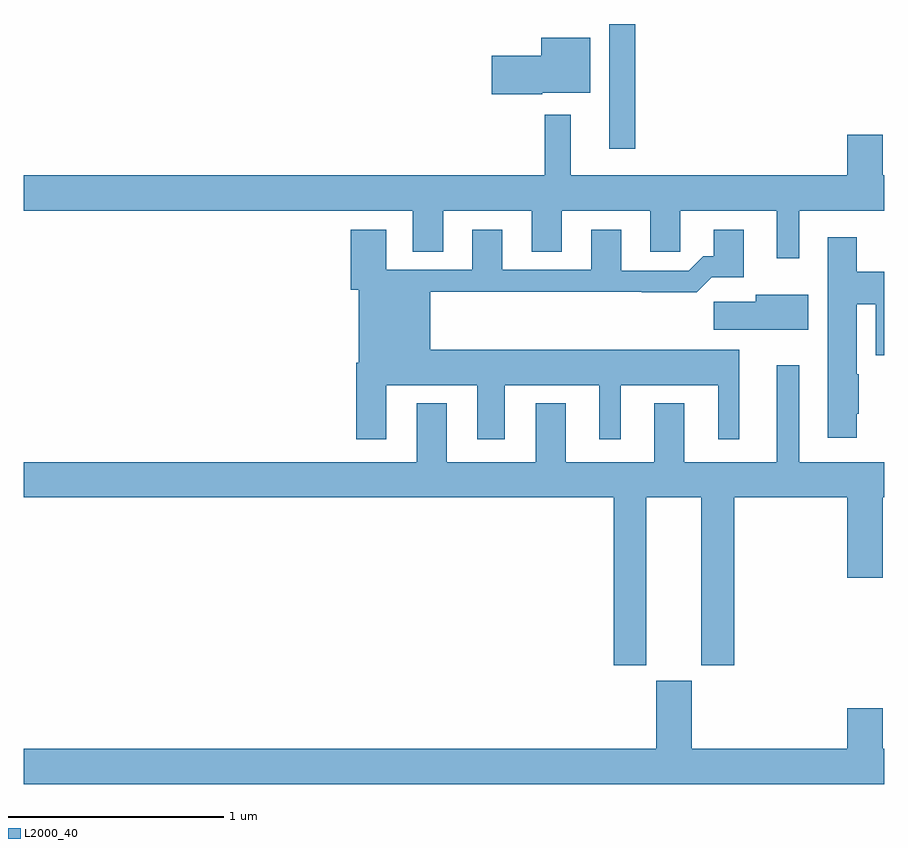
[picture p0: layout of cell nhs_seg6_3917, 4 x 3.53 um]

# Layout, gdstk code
import gdstk
lib = gdstk.Library(unit=1e-6, precision=1e-09)
def R(c, l, rs):  # rectangles x0, y0, x1, y1
    for r in rs: c.add(gdstk.rectangle(r[:2], r[2:], *l))
def P(c, l, *ps):  # polygons
    for p in ps: c.add(gdstk.Polygon(p, *l))
L2000_40 = (2000, 40)

nhs_seg6_3917 = lib.new_cell('nhs_seg6_3917')
R(nhs_seg6_3917, L2000_40, [(343.721,984.921,343.843,985.5)])
P(nhs_seg6_3917, L2000_40, [(343.41,985.181),(343.633,985.181),(343.633,985.435),(343.406,985.435),(343.406,985.352),(343.176,985.352),(343.176,985.174),(343.41,985.174)],
  [(344.605,984.632),(345,984.632),(345,984.796),(344.992,984.796),(344.992,984.985),(344.828,984.985),(344.828,984.796),(343.543,984.796),(343.543,985.078),(343.422,985.078),(343.422,984.796),(341,984.796),(341,984.632),(342.809,984.632),(342.809,984.442),(342.949,984.442),(342.949,984.632),(343.361,984.632),(343.361,984.442),(343.501,984.442),(343.501,984.632),(343.913,984.632),(343.913,984.442),(344.052,984.442),(344.052,984.632),(344.501,984.632),(344.501,984.411),(344.605,984.411)],
  [(342.685,983.822),(343.109,983.822),(343.109,983.571),(343.237,983.571),(343.237,983.822),(343.676,983.822),(343.676,983.571),(343.774,983.571),(343.774,983.822),(344.228,983.822),(344.228,983.571),(344.326,983.571),(344.326,983.986),(342.889,983.986),(342.889,984.256),(343.873,984.256),(343.873,984.254),(344.129,984.254),(344.198,984.323),(344.347,984.323),(344.347,984.544),(344.207,984.544),(344.207,984.421),(344.158,984.421),(344.091,984.354),(343.777,984.354),(343.777,984.544),(343.637,984.544),(343.637,984.357),(343.225,984.357),(343.225,984.544),(343.085,984.544),(343.085,984.357),(342.685,984.357),(342.685,984.544),(342.521,984.544),(342.521,984.264),(342.557,984.264),(342.557,983.926),(342.545,983.926),(342.545,983.571),(342.685,983.571)],
  [(344.872,983.689),(344.88,983.689),(344.88,983.873),(344.872,983.873),(344.872,984.197),(344.96,984.197),(344.96,983.961),(345,983.961),(345,984.349),(344.872,984.349),(344.872,984.508),(344.738,984.508),(344.738,983.577),(344.872,983.577)],
  [(344.647,984.241),(344.402,984.241),(344.402,984.209),(344.208,984.209),(344.208,984.08),(344.647,984.08)],
  [(343.894,983.3),(344.15,983.3),(344.15,982.521),(344.303,982.521),(344.303,983.3),(344.828,983.3),(344.828,982.926),(344.992,982.926),(344.992,983.3),(345,983.3),(345,983.464),(344.605,983.464),(344.605,983.914),(344.501,983.914),(344.501,983.464),(344.071,983.464),(344.071,983.737),(343.931,983.737),(343.931,983.464),(343.519,983.464),(343.519,983.737),(343.379,983.737),(343.379,983.464),(342.967,983.464),(342.967,983.737),(342.827,983.737),(342.827,983.464),(341,983.464),(341,983.3),(343.742,983.3),(343.742,982.521),(343.894,982.521)],
  [(345,982.132),(344.992,982.132),(344.992,982.321),(344.828,982.321),(344.828,982.132),(344.104,982.132),(344.104,982.449),(343.94,982.449),(343.94,982.132),(341,982.132),(341,981.968),(345,981.968)])

lib.write_gds('nhs_seg6_3917.gds')
